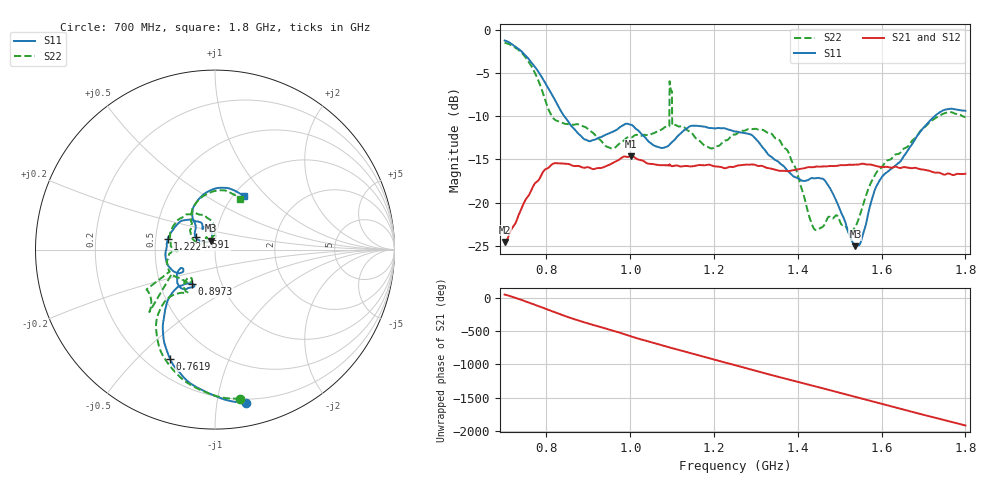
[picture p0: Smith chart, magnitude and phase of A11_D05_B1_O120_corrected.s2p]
! Created with skrf 1.9.0 (http://scikit-rf.org).
# Hz S RI R 50.0
!freq ReS11 ImS11 ReS21 ImS21 ReS12 ImS12 ReS22 ImS22
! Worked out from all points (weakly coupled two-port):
!   1601 points, 700 MHz to 1.8 GHz, reference 50 ohm
!   highest |S21| = -14.61 dB at 1.002 GHz (marker M1); lowest = -24.6 dB at 700.7 MHz (marker M2)
!   lowest |S11| = -25.0 dB at 1.537 GHz (marker M3), VSWR 1.12, Z = 47.4 + j4.81 ohm
!   |S11| at or under -10 dB: 842.5 MHz to 1.726 GHz (883.8 MHz wide, 68.8 % of centre)
!   |S22| runs from -23.6 to -1.5 dB; largest |S21 - S12| = 0.0035
!   S11 on the Smith chart (normalised r, x): 700 MHz: 0.17, -1.21; 761.9 MHz: 0.29, -0.63; 897.3 MHz: 0.73, -0.29; 1.222 GHz: 0.58, +0.07; 1.591 GHz: 0.80, +0.11; 1.8 GHz: 1.12, +0.76
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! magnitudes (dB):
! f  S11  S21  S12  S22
! 700 MHz  -1.2  -24.5  -24.3  -1.5
! 700.7 MHz  -1.2  -24.6  -24.2  -1.5
! 761.9 MHz  -3.7  -18.8  -18.7  -4.0
! 816.9 MHz  -7.8  -15.5  -15.6  -10.3
! 883.6 MHz  -12.3  -15.9  -15.8  -11.1
! 897.3 MHz  -12.8  -15.9  -16.0  -11.4
! 954.4 MHz  -11.9  -15.5  -15.5  -13.7
! 1.002 GHz  -11.0  -14.6  -14.7  -12.4
! 1.067 GHz  -13.6  -15.6  -15.6  -11.7
! 1.099 GHz  -13.0  -15.8  -15.8  -7.1
! 1.106 GHz  -12.7  -15.7  -15.7  -11.0
! 1.222 GHz  -11.4  -16.0  -16.0  -12.9
! 1.25 GHz  -11.8  -15.8  -15.7  -12.1
! 1.357 GHz  -15.4  -16.3  -16.3  -12.8
! 1.395 GHz  -17.1  -16.2  -16.2  -16.1
! 1.434 GHz  -17.1  -15.9  -15.9  -22.5
! 1.473 GHz  -18.0  -15.8  -15.8  -21.7
! 1.537 GHz  -25.0  -15.6  -15.6  -22.7
! 1.591 GHz  -17.8  -15.8  -15.8  -16.3
! 1.617 GHz  -16.3  -15.9  -15.9  -15.1
! 1.732 GHz  -9.8  -16.5  -16.5  -10.1
! 1.8 GHz  -9.4  -16.6  -16.6  -10.1
